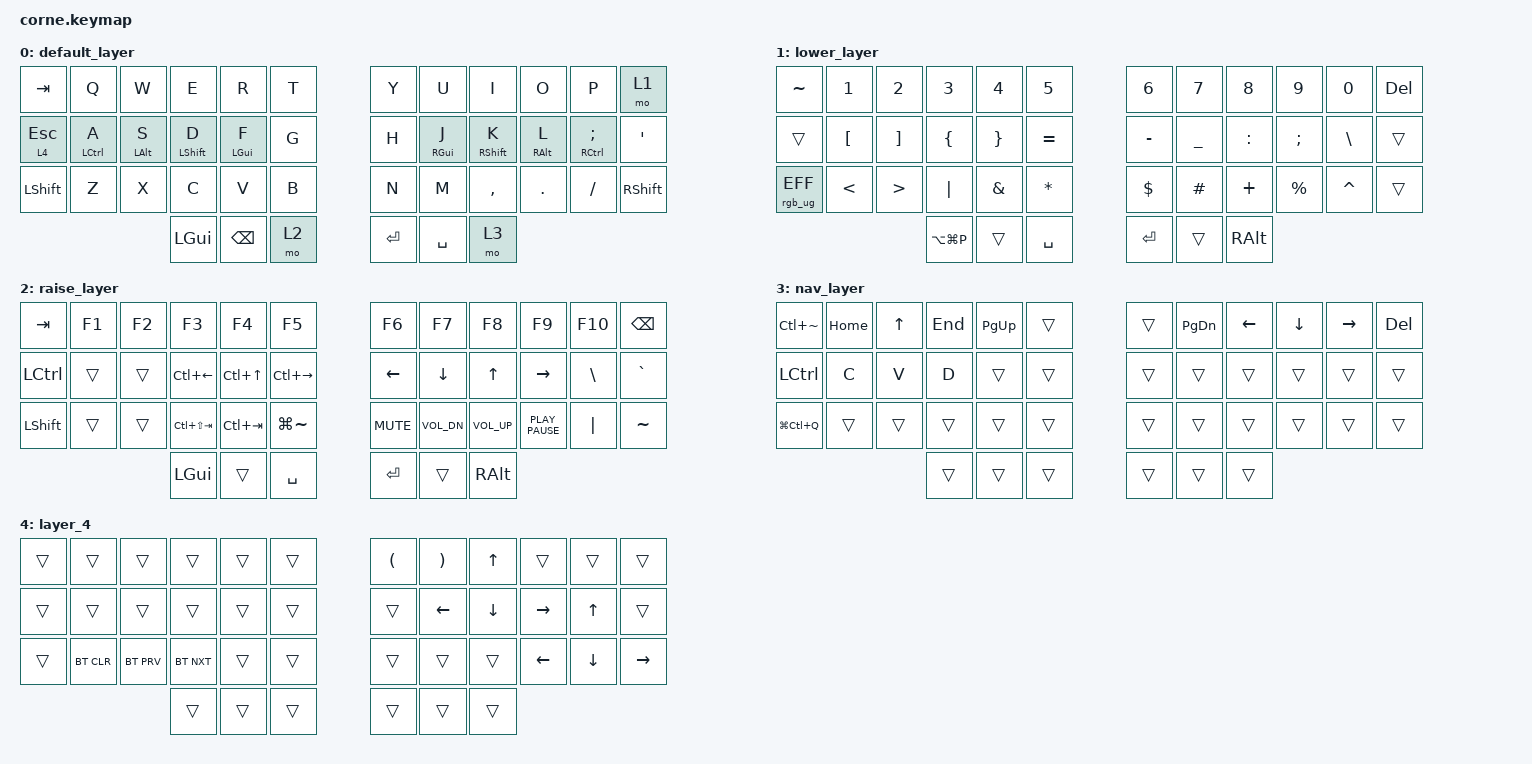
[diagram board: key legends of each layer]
/*
 * Copyright (c) 2020 The ZMK Contributors
 *
 * SPDX-License-Identifier: MIT
 */

#include <behaviors.dtsi>
#include <dt-bindings/zmk/bt.h>
#include <dt-bindings/zmk/keys.h>
#include <dt-bindings/zmk/rgb.h>

&mt {
    tapping-term-ms = <300>;
    flavor = "tap-preferred";
};

/ {
    keymap {
        compatible = "zmk,keymap";

        default_layer {
            // -----------------------------------------------------------------------------------------
            // |  TAB |  Q  |  W  |  E  |  R  |  T  |   |  Y  |  U   |  I  |  O  |  P  | BKSP |
            // | CTRL |  A  |  S  |  D  |  F  |  G  |   |  H  |  J   |  K  |  L  |  ;  |  '   |
            // | SHFT |  Z  |  X  |  C  |  V  |  B  |   |  N  |  M   |  ,  |  .  |  /  | ESC  |
            //                    | GUI | LWR | SPC |   | ENT | RSE  | ALT |

            bindings = <
&kp TAB       &kp Q        &kp W       &kp E        &kp R          &kp T    &kp Y    &kp U       &kp I        &kp O       &kp P           &mo 1
&lt 4 ESCAPE  &mt LCTRL A  &mt LALT S  &mt LSHFT D  &mt LGUI F     &kp G    &kp H    &mt RGUI J  &mt RSHFT K  &mt RALT L  &mt RCTRL SEMI  &kp SQT
&kp LSHFT     &kp Z        &kp X       &kp C        &kp V          &kp B    &kp N    &kp M       &kp COMMA    &kp DOT     &kp FSLH        &kp RSHIFT
                                       &kp LGUI     &kp BACKSPACE  &mo 2    &kp RET  &kp SPACE   &mo 3
            >;
        };

        lower_layer {
            // -----------------------------------------------------------------------------------------
            // |  TAB |  1  |  2  |  3  |  4  |  5  |   |  6  |  7  |  8  |  9  |  0  | BKSP |
            // | BTCLR| BT1 | BT2 | BT3 | BT4 | BT5 |   | LFT | DWN |  UP | RGT |     |      |
            // | SHFT |     |     |     |     |     |   |     |     |     |     |     |      |
            //                    | GUI |     | SPC |   | ENT |     | ALT |

            bindings = <
&kp TILDE        &kp N1    &kp N2    &kp N3          &kp N4           &kp N5       &kp N6     &kp N7     &kp N8     &kp N9         &kp N0         &kp DEL
&trans           &kp LBKT  &kp RBKT  &kp LEFT_BRACE  &kp RIGHT_BRACE  &kp EQUAL    &kp MINUS  &kp UNDER  &kp COLON  &kp SEMICOLON  &kp BACKSLASH  &trans
&rgb_ug RGB_EFF  &kp LT    &kp GT    &kp PIPE        &kp AMPS         &kp ASTRK    &kp DLLR   &kp HASH   &kp PLUS   &kp PERCENT    &kp CARET      &trans
                                     &kp LA(LG(P))   &trans           &kp SPACE    &kp RET    &trans     &kp RALT
            >;
        };

        raise_layer {
            // -----------------------------------------------------------------------------------------
            // |  TAB |  !  |  @  |  #  |  $  |  %  |   |  ^  |  &  |  *  |  (  |  )  | BKSP |
            // | CTRL |     |     |     |     |     |   |  -  |  =  |  [  |  ]  |  \  |  `   |
            // | SHFT |     |     |     |     |     |   |  _  |  +  |  {  |  }  | "|" |  ~   |
            //                    | GUI |     | SPC |   | ENT |     | ALT |

            bindings = <
&kp TAB    &kp F1  &kp F2  &kp F3              &kp F4            &kp F5           &kp F6      &kp F7        &kp F8           &kp F9            &kp F10   &kp BSPC
&kp LCTRL  &trans  &trans  &kp LC(LEFT_ARROW)  &kp LC(UP_ARROW)  &kp LC(RIGHT)    &kp LEFT    &kp DOWN      &kp UP_ARROW     &kp RIGHT         &kp BSLH  &kp GRAVE
&kp LSHFT  &trans  &trans  &kp LC(LS(TAB))     &kp LC(TAB)       &kp LG(TILDE)    &kp K_MUTE  &kp C_VOL_DN  &kp C_VOLUME_UP  &kp K_PLAY_PAUSE  &kp PIPE  &kp TILDE
                           &kp LGUI            &trans            &kp SPACE        &kp RET     &trans        &kp RALT
            >;
        };

        nav_layer {
            bindings = <
&kp LC(TILDE)  &kp HOME  &kp UP_ARROW  &kp END  &kp PG_UP  &trans    &trans  &kp PG_DN  &kp LEFT  &kp DOWN  &kp RIGHT  &kp DELETE
&kp LCTRL      &kp C     &kp V         &kp D    &trans     &trans    &trans  &trans     &trans    &trans    &trans     &trans
&kp LG(LC(Q))  &trans    &trans        &trans   &trans     &trans    &trans  &trans     &trans    &trans    &trans     &trans
                                       &trans   &trans     &trans    &trans  &trans     &trans
            >;
        };

        layer_4 {
            bindings = <
&trans  &trans      &trans      &trans      &trans  &trans    &kp LEFT_PARENTHESIS  &kp RIGHT_PARENTHESIS  &kp UP_ARROW    &trans           &trans          &trans
&trans  &trans      &trans      &trans      &trans  &trans    &trans                &kp LEFT_ARROW         &kp DOWN_ARROW  &kp RIGHT_ARROW  &kp UP_ARROW    &trans
&trans  &bt BT_CLR  &bt BT_PRV  &bt BT_NXT  &trans  &trans    &trans                &trans                 &trans          &kp LEFT_ARROW   &kp DOWN_ARROW  &kp RIGHT_ARROW
                                &trans      &trans  &trans    &trans                &trans                 &trans
            >;
        };
    };
};
